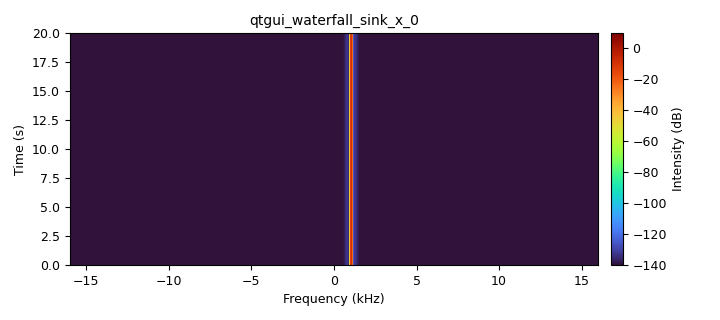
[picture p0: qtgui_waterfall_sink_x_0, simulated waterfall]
<?xml version='1.0' encoding='utf-8'?>
<?grc format='1' created='3.7.11'?>
<flow_graph>
<block>
<key>options</key>
<param><key>id</key><value>sigmf_sink</value></param>
<param><key>author</key><value>Cate Miller</value></param>
<param><key>description</key><value>Example use of the SigMF Sink block</value></param>
<param><key>generate_options</key><value>qt_gui</value></param>
<param><key>run_options</key><value>run</value></param>
<param><key>title</key><value>SigMF Sink</value></param>
</block>
<block>
<key>variable</key>
<param><key>id</key><value>samp_rate</value></param>
<param><key>value</key><value>32000</value></param>
</block>
<block>
<key>analog_sig_source_x</key>
<param><key>id</key><value>analog_sig_source_x_0</value></param>
<param><key>amp</key><value>1</value></param>
<param><key>freq</key><value>1000</value></param>
<param><key>offset</key><value>0</value></param>
<param><key>type</key><value>complex</value></param>
<param><key>samp_rate</key><value>samp_rate</value></param>
<param><key>waveform</key><value>analog.GR_COS_WAVE</value></param>
</block>
<block>
<key>blocks_throttle</key>
<param><key>id</key><value>blocks_throttle_0</value></param>
<param><key>samples_per_second</key><value>samp_rate</value></param>
<param><key>type</key><value>complex</value></param>
</block>
<block>
<key>qtgui_waterfall_sink_x</key>
<param><key>id</key><value>qtgui_waterfall_sink_x_0</value></param>
<param><key>bw</key><value>samp_rate</value></param>
<param><key>fc</key><value>0</value></param>
<param><key>fftsize</key><value>1024</value></param>
<param><key>showports</key><value>True</value></param>
<param><key>type</key><value>complex</value></param>
<param><key>wintype</key><value>firdes.WIN_BLACKMAN_hARRIS</value></param>
</block>
<block>
<key>sigmf_sink</key>
<param><key>id</key><value>sigmf_sink_0</value></param>
<param><key>author</key><value>Cate Miller</value></param>
<param><key>debug</key><value>False</value></param>
<param><key>description</key><value>This is an example output file</value></param>
<param><key>num_extra_fields</key><value>0</value></param>
<param><key>field_1_key</key><value>extra1</value></param>
<param><key>field_1_type</key><value>bool</value></param>
<param><key>field_1_value</key><value>True</value></param>
<param><key>field_10_key</key><value></value></param>
<param><key>field_10_type</key><value>string</value></param>
<param><key>field_10_value</key><value></value></param>
<param><key>field_11_key</key><value></value></param>
<param><key>field_11_type</key><value>string</value></param>
<param><key>field_11_value</key><value></value></param>
<param><key>field_12_key</key><value></value></param>
<param><key>field_12_type</key><value>string</value></param>
<param><key>field_12_value</key><value></value></param>
<param><key>field_13_key</key><value></value></param>
<param><key>field_13_type</key><value>string</value></param>
<param><key>field_13_value</key><value></value></param>
<param><key>field_14_key</key><value></value></param>
<param><key>field_14_type</key><value>string</value></param>
<param><key>field_14_value</key><value></value></param>
<param><key>field_15_key</key><value></value></param>
<param><key>field_15_type</key><value>string</value></param>
<param><key>field_15_value</key><value></value></param>
<param><key>field_16_key</key><value></value></param>
<param><key>field_16_type</key><value>string</value></param>
<param><key>field_16_value</key><value></value></param>
<param><key>field_17_key</key><value></value></param>
<param><key>field_17_type</key><value>string</value></param>
<param><key>field_17_value</key><value></value></param>
<param><key>field_18_key</key><value></value></param>
<param><key>field_18_type</key><value>string</value></param>
<param><key>field_18_value</key><value></value></param>
<param><key>field_19_key</key><value></value></param>
<param><key>field_19_type</key><value>string</value></param>
<param><key>field_19_value</key><value></value></param>
<param><key>field_2_key</key><value>extra2</value></param>
<param><key>field_2_type</key><value>string</value></param>
<param><key>field_2_value</key><value>here is some metadata</value></param>
<param><key>field_20_key</key><value></value></param>
<param><key>field_20_type</key><value>string</value></param>
<param><key>field_20_value</key><value></value></param>
<param><key>field_21_key</key><value></value></param>
<param><key>field_21_type</key><value>string</value></param>
<param><key>field_21_value</key><value></value></param>
<param><key>field_22_key</key><value></value></param>
<param><key>field_22_type</key><value>string</value></param>
<param><key>field_22_value</key><value></value></param>
<param><key>field_23_key</key><value></value></param>
<param><key>field_23_type</key><value>string</value></param>
<param><key>field_23_value</key><value></value></param>
<param><key>field_24_key</key><value></value></param>
<param><key>field_24_type</key><value>string</value></param>
<param><key>field_24_value</key><value></value></param>
<param><key>field_25_key</key><value></value></param>
<param><key>field_25_type</key><value>string</value></param>
<param><key>field_25_value</key><value></value></param>
<param><key>field_3_key</key><value></value></param>
<param><key>field_3_type</key><value>string</value></param>
<param><key>field_3_value</key><value></value></param>
<param><key>field_4_key</key><value></value></param>
<param><key>field_4_type</key><value>string</value></param>
<param><key>field_4_value</key><value></value></param>
<param><key>field_5_key</key><value></value></param>
<param><key>field_5_type</key><value>string</value></param>
<param><key>field_5_value</key><value></value></param>
<param><key>field_6_key</key><value></value></param>
<param><key>field_6_type</key><value>string</value></param>
<param><key>field_6_value</key><value></value></param>
<param><key>field_7_key</key><value></value></param>
<param><key>field_7_type</key><value>string</value></param>
<param><key>field_7_value</key><value></value></param>
<param><key>field_8_key</key><value></value></param>
<param><key>field_8_type</key><value>string</value></param>
<param><key>field_8_value</key><value></value></param>
<param><key>field_9_key</key><value></value></param>
<param><key>field_9_type</key><value>string</value></param>
<param><key>field_9_value</key><value></value></param>
<param><key>filename</key><value>out</value></param>
<param><key>hardware</key><value>None</value></param>
<param><key>type</key><value>fc32</value></param>
<param><key>license</key><value>CC-BY-SA</value></param>
<param><key>samp_rate</key><value>samp_rate</value></param>
</block>
<connection><source_block_id>analog_sig_source_x_0</source_block_id><sink_block_id>blocks_throttle_0</sink_block_id><source_key>0</source_key><sink_key>0</sink_key></connection>
<connection><source_block_id>blocks_throttle_0</source_block_id><sink_block_id>qtgui_waterfall_sink_x_0</sink_block_id><source_key>0</source_key><sink_key>0</sink_key></connection>
<connection><source_block_id>blocks_throttle_0</source_block_id><sink_block_id>sigmf_sink_0</sink_block_id><source_key>0</source_key><sink_key>0</sink_key></connection>
</flow_graph>
